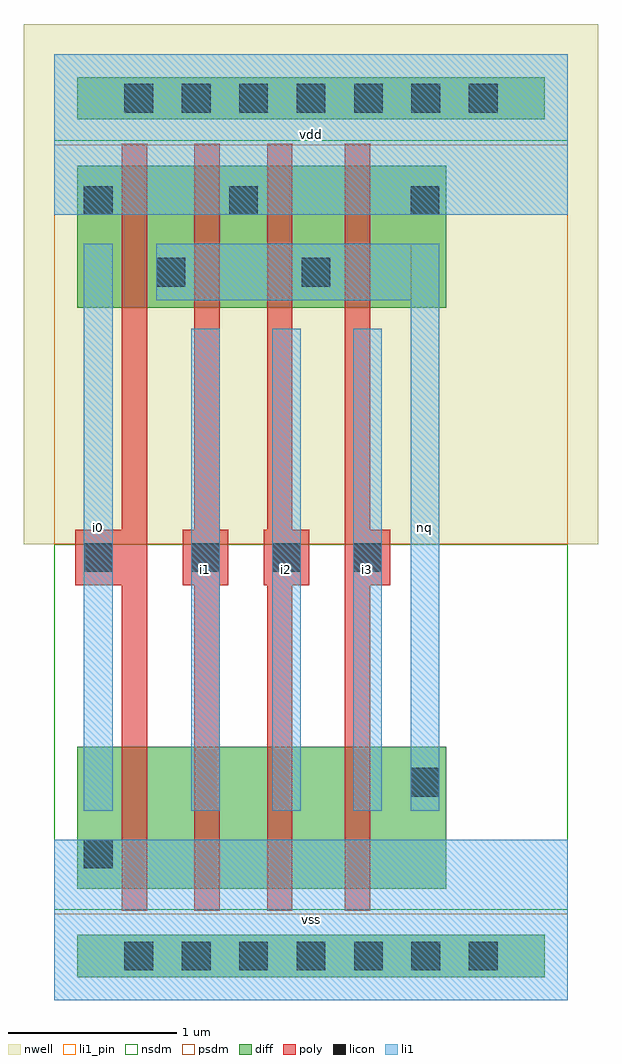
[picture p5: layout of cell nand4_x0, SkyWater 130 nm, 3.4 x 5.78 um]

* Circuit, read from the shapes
.subckt nand4_x0 i0 i1 i2 i3 nq vdd vss
XM1 n1 i0 vss VSUBS sky130_fd_pr__nfet_01v8 w=0.84 l=0.15
XM2 n2 i1 n1 VSUBS sky130_fd_pr__nfet_01v8 w=0.84 l=0.15
XM3 n3 i2 n2 VSUBS sky130_fd_pr__nfet_01v8 w=0.84 l=0.15
XM4 nq i3 n3 VSUBS sky130_fd_pr__nfet_01v8 w=0.84 l=0.15
XM5 nq i0 vdd n4 sky130_fd_pr__pfet_01v8 w=0.84 l=0.15
XM6 vdd i1 nq n4 sky130_fd_pr__pfet_01v8 w=0.84 l=0.15
XM7 nq i2 vdd n4 sky130_fd_pr__pfet_01v8 w=0.84 l=0.15
XM8 vdd i3 nq n4 sky130_fd_pr__pfet_01v8 w=0.84 l=0.15
.ends

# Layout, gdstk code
import gdstk
lib = gdstk.Library(unit=1e-6, precision=1e-09)
def R(c, l, rs):  # rectangles x0, y0, x1, y1
    for r in rs: c.add(gdstk.rectangle(r[:2], r[2:], *l))
def A(c, l, x, y, w, h, nx, ny, dx, dy):  # array of equal rectangles
    R(c, l, [(x+i*dx, y+j*dy, x+i*dx+w, y+j*dy+h) for i in range(nx) for j in range(ny)])
def P(c, l, *ps):  # polygons
    for p in ps: c.add(gdstk.Polygon(p, *l))
nwell = (64, 20)
diff = (65, 20)
poly = (66, 20)
licon = (66, 44)
li1_pin = (67, 16)
li1 = (67, 20)
nsdm = (93, 44)
psdm = (94, 20)

nand4_x0 = lib.new_cell('nand4_x0')
R(nand4_x0, nwell, [(-0.18,2.7,3.22,5.78)])
R(nand4_x0, diff, [(0.135,0.135,2.905,0.385), (0.135,0.66,2.32,1.5), (0.135,4.1,2.32,4.94), (0.135,5.215,2.905,5.465)])
P(nand4_x0, poly, [(0.4,0.53),(0.4,2.455),(0.125,2.455),(0.125,2.785),(0.4,2.785),(0.4,5.07),(0.55,5.07),(0.55,0.53)],
  [(0.83,0.53),(0.83,2.455),(0.76,2.455),(0.76,2.785),(0.83,2.785),(0.83,5.07),(0.98,5.07),(0.98,2.785),(1.03,2.785),(1.03,2.455),(0.98,2.455),(0.98,0.53)],
  [(1.26,0.53),(1.26,2.455),(1.24,2.455),(1.24,2.785),(1.26,2.785),(1.26,5.07),(1.41,5.07),(1.41,2.785),(1.51,2.785),(1.51,2.455),(1.41,2.455),(1.41,0.53)],
  [(1.72,0.53),(1.72,5.07),(1.87,5.07),(1.87,2.785),(1.99,2.785),(1.99,2.455),(1.87,2.455),(1.87,0.53)])
A(nand4_x0, licon, 0.415, 0.175, 0.17, 0.17, 7, 2, 0.34, 5.08)
A(nand4_x0, licon, 0.81, 2.535, 0.17, 0.17, 3, 1, 0.48, 0)
R(nand4_x0, licon, [(0.175,0.78,0.345,0.95), (2.11,1.205,2.28,1.375), (0.175,2.535,0.345,2.705), (0.605,4.225,0.775,4.395), (1.465,4.225,1.635,4.395), (0.175,4.65,0.345,4.82), (1.035,4.65,1.205,4.82), (2.11,4.65,2.28,4.82)])
A(nand4_x0, li1_pin, 0.81, 1.12, 0.17, 2.855, 3, 1, 0.48, 0)
R(nand4_x0, li1_pin, [(0,0,3.04,0.95), (0.175,1.12,0.345,4.48), (2.11,1.12,2.28,4.48), (0,4.65,3.04,5.6)])
A(nand4_x0, li1, 0.81, 1.12, 0.17, 2.855, 3, 1, 0.48, 0)
R(nand4_x0, li1, [(0,0,3.04,0.95), (0.175,1.12,0.345,4.48), (0,4.65,3.04,5.6)])
P(nand4_x0, li1, [(2.11,1.12),(2.11,4.145),(0.605,4.145),(0.605,4.48),(2.28,4.48),(2.28,1.12)])
R(nand4_x0, nsdm, [(0,0.535,3.04,2.7), (0,5.09,3.04,5.6)])
R(nand4_x0, psdm, [(0,0,3.04,0.51), (0,2.7,3.04,5.065)])
nand4_x0.add(gdstk.Label('vss', (1.52,0.475), layer=67, texttype=16))
nand4_x0.add(gdstk.Label('vdd', (1.52,5.125), layer=67, texttype=16))
nand4_x0.add(gdstk.Label('i0', (0.26,2.8), layer=67, texttype=16))
nand4_x0.add(gdstk.Label('nq', (2.195,2.8), layer=67, texttype=16))
nand4_x0.add(gdstk.Label('i1', (0.895,2.548), layer=67, texttype=16))
nand4_x0.add(gdstk.Label('i2', (1.375,2.548), layer=67, texttype=16))
nand4_x0.add(gdstk.Label('i3', (1.855,2.548), layer=67, texttype=16))

lib.write_gds('nand4_x0.gds')
